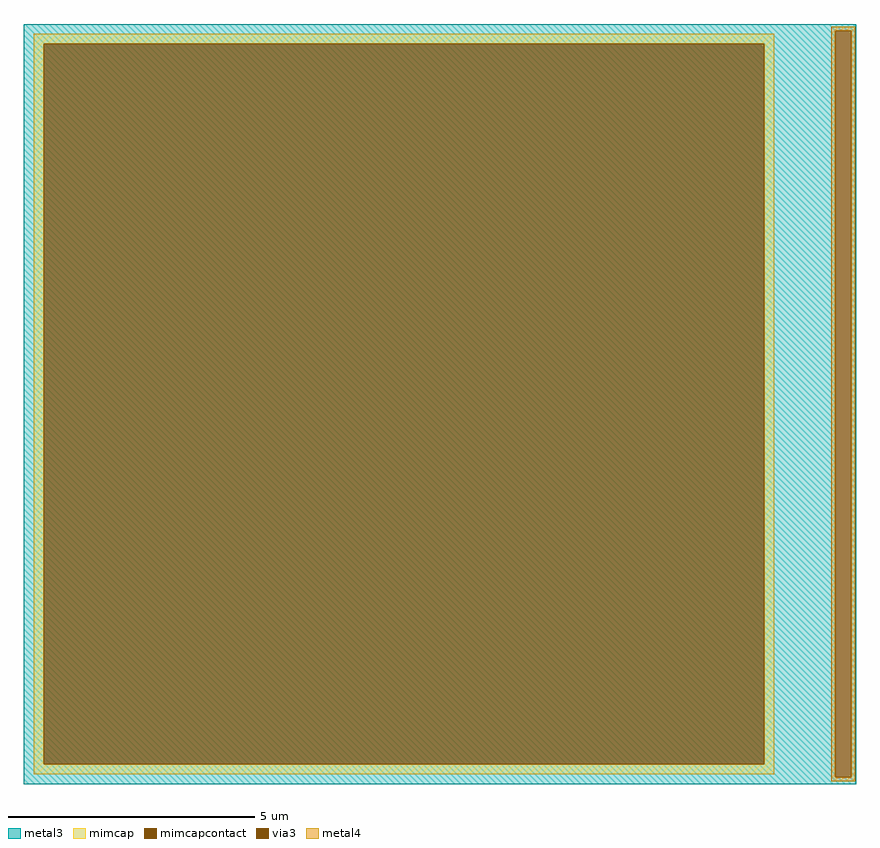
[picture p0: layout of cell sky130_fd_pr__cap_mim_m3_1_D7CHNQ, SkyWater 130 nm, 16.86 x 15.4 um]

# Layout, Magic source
magic
tech sky130A
<< metal3 >>
rect -843 756 843 770
rect -843 -756 801 756
rect 833 -756 843 756
rect -843 -770 843 -756
<< via3 >>
rect 801 -756 833 756
<< mimcap >>
rect -823 730 677 750
rect -823 -730 -803 730
rect 657 -730 677 730
rect -823 -750 677 -730
<< mimcapcontact >>
rect -803 -730 657 730
<< metal4 >>
rect 793 756 841 764
rect 793 -756 801 756
rect 833 -756 841 756
rect 793 -764 841 -756
<< properties >>
string FIXED_BBOX -843 -770 697 770
string gencell sky130_fd_pr__cap_mim_m3_1
string library sky130
string parameters w 15 l 15 val 461.4 carea 2.00 cperi 0.19 nx 1 ny 1 dummy 0 square 0 lmin 2.00 wmin 2.00 lmax 30.0 wmax 30.0 dc 0 bconnect 1 tconnect 1 ccov 100
<< end >>
